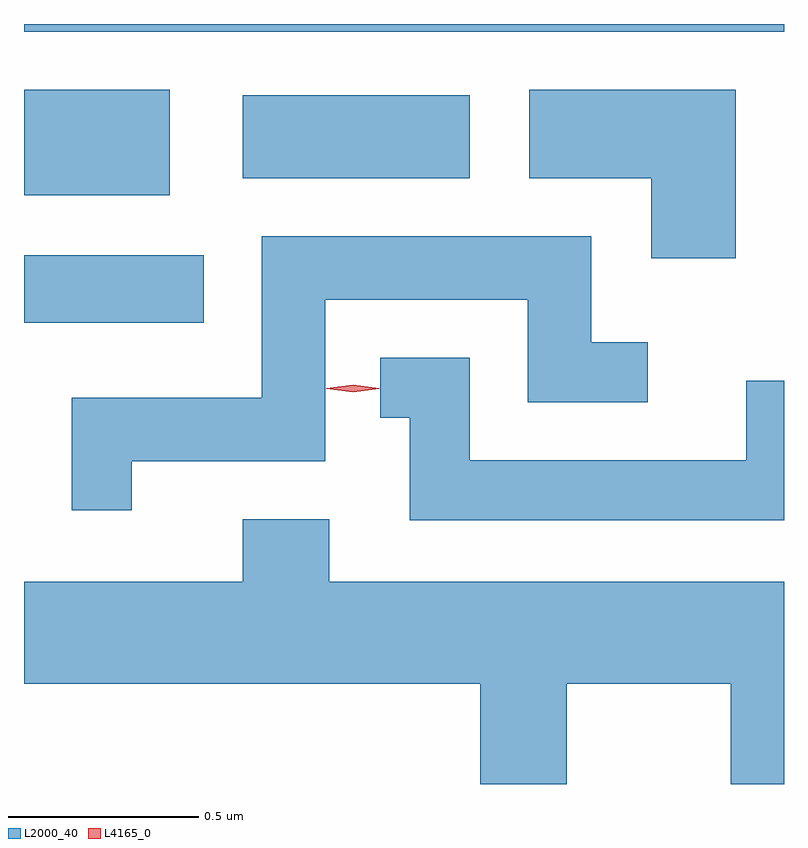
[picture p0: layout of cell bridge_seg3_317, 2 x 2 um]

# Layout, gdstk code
import gdstk
lib = gdstk.Library(unit=1e-6, precision=1e-09)
def R(c, l, rs):  # rectangles x0, y0, x1, y1
    for r in rs: c.add(gdstk.rectangle(r[:2], r[2:], *l))
def P(c, l, *ps):  # polygons
    for p in ps: c.add(gdstk.Polygon(p, *l))
L2000_40 = (2000, 40)
L4165_0 = (4165, 0)

bridge_seg3_317 = lib.new_cell('bridge_seg3_317')
R(bridge_seg3_317, L2000_40, [(611.316,1235.746,611.789,1235.924), (611.316,1236.081,611.699,1236.359), (611.891,1236.126,612.489,1236.344), (611.316,1236.511,613.316,1236.532)])
P(bridge_seg3_317, L2000_40, [(613.189,1236.359),(612.646,1236.359),(612.646,1236.126),(612.966,1236.126),(612.966,1235.916),(613.189,1235.916)],
  [(611.599,1235.381),(612.109,1235.381),(612.109,1235.806),(612.641,1235.806),(612.641,1235.536),(612.958,1235.536),(612.958,1235.694),(612.809,1235.694),(612.809,1235.974),(611.941,1235.974),(611.941,1235.549),(611.441,1235.549),(611.441,1235.253),(611.599,1235.253)],
  [(613.316,1235.593),(613.216,1235.593),(613.216,1235.384),(612.489,1235.384),(612.489,1235.654),(612.253,1235.654),(612.253,1235.496),(612.331,1235.496),(612.331,1235.226),(613.316,1235.226)],
  [(612.744,1234.796),(613.176,1234.796),(613.176,1234.532),(613.316,1234.532),(613.316,1235.064),(612.119,1235.064),(612.119,1235.229),(611.891,1235.229),(611.891,1235.064),(611.316,1235.064),(611.316,1234.796),(612.516,1234.796),(612.516,1234.532),(612.744,1234.532)])
P(bridge_seg3_317, L4165_0, [(612.182,1235.563),(612.112,1235.572),(612.112,1235.573),(612.112,1235.573),(612.182,1235.583),(612.251,1235.573),(612.251,1235.573),(612.251,1235.572)])

lib.write_gds('bridge_seg3_317.gds')
